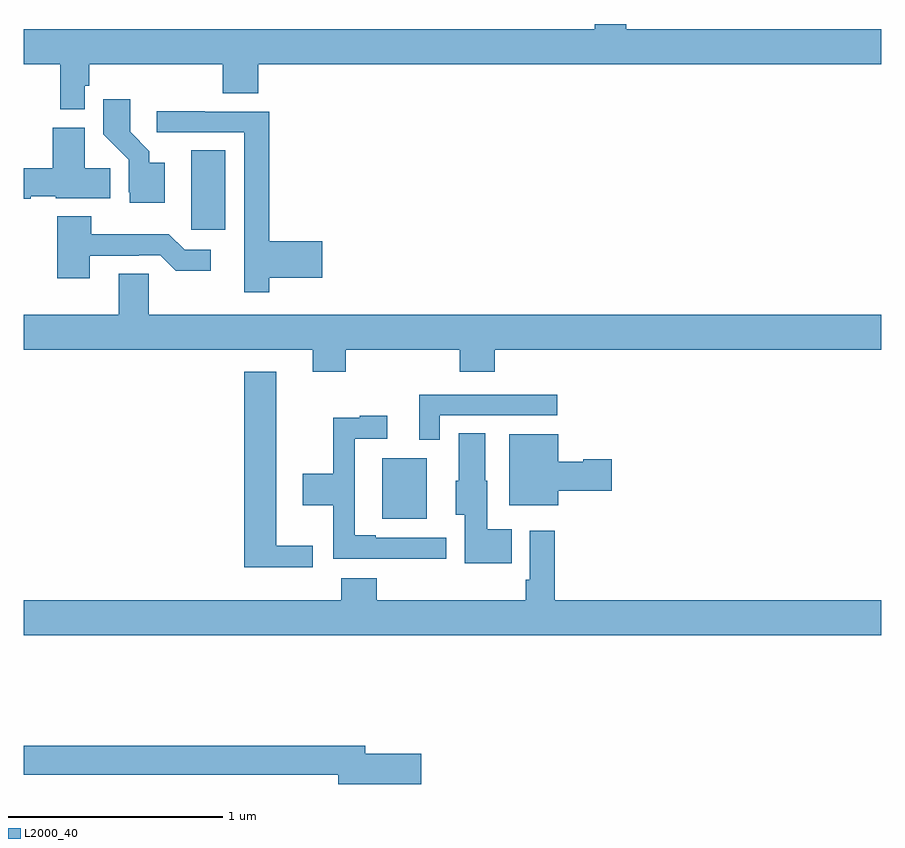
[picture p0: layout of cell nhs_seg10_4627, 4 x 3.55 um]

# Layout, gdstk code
import gdstk
lib = gdstk.Library(unit=1e-6, precision=1e-09)
def R(c, l, rs):  # rectangles x0, y0, x1, y1
    for r in rs: c.add(gdstk.rectangle(r[:2], r[2:], *l))
def P(c, l, *ps):  # polygons
    for p in ps: c.add(gdstk.Polygon(p, *l))
L2000_40 = (2000, 40)

nhs_seg10_4627 = lib.new_cell('nhs_seg10_4627')
R(nhs_seg10_4627, L2000_40, [(376.673,1302.191,376.879,1302.475), (375.782,1303.539,375.94,1303.91)])
P(nhs_seg10_4627, L2000_40, [(377.663,1304.5),(377.663,1304.476),(375,1304.476),(375,1304.312),(375.169,1304.312),(375.169,1304.102),(375.285,1304.102),(375.285,1304.211),(375.305,1304.211),(375.305,1304.312),(375.929,1304.312),(375.929,1304.176),(376.094,1304.176),(376.094,1304.312),(379,1304.312),(379,1304.476),(377.811,1304.476),(377.811,1304.5)],
  [(375.658,1303.852),(375.586,1303.852),(375.586,1303.907),(375.496,1303.997),(375.496,1304.149),(375.37,1304.149),(375.37,1303.986),(375.489,1303.867),(375.489,1303.716),(375.494,1303.716),(375.494,1303.667),(375.658,1303.667)],
  [(376.145,1303.316),(376.393,1303.316),(376.393,1303.487),(376.145,1303.487),(376.145,1304.091),(375.845,1304.091),(375.845,1304.094),(375.621,1304.094),(375.621,1303.995),(376.029,1303.995),(376.029,1303.47),(376.028,1303.47),(376.028,1303.248),(376.145,1303.248)],
  [(375.033,1303.697),(375.15,1303.697),(375.15,1303.688),(375.404,1303.688),(375.404,1303.826),(375.283,1303.826),(375.283,1304.017),(375.134,1304.017),(375.134,1303.827),(375,1303.827),(375,1303.685),(375.033,1303.685)],
  [(375.307,1303.419),(375.536,1303.419),(375.536,1303.422),(375.636,1303.422),(375.709,1303.349),(375.871,1303.349),(375.871,1303.446),(375.75,1303.446),(375.677,1303.519),(375.315,1303.519),(375.315,1303.603),(375.155,1303.603),(375.155,1303.314),(375.307,1303.314)],
  [(376.502,1302.98),(377.033,1302.98),(377.033,1302.878),(377.198,1302.878),(377.198,1302.98),(379,1302.98),(379,1303.144),(375.582,1303.144),(375.582,1303.334),(375.443,1303.334),(375.443,1303.144),(375,1303.144),(375,1302.98),(376.349,1302.98),(376.349,1302.878),(376.502,1302.878)],
  [(376.348,1302.065),(376.177,1302.065),(376.177,1302.877),(376.028,1302.877),(376.028,1301.966),(376.348,1301.966)],
  [(376.941,1302.675),(377.488,1302.675),(377.488,1302.771),(376.844,1302.771),(376.844,1302.56),(376.941,1302.56)],
  [(376.972,1302.102),(376.642,1302.102),(376.642,1302.115),(376.545,1302.115),(376.545,1302.564),(376.696,1302.564),(376.696,1302.673),(376.568,1302.673),(376.568,1302.662),(376.444,1302.662),(376.444,1302.402),(376.302,1302.402),(376.302,1302.254),(376.444,1302.254),(376.444,1302.006),(376.729,1302.006),(376.729,1302.005),(376.972,1302.005)],
  [(377.276,1302.142),(377.161,1302.142),(377.161,1302.369),(377.152,1302.369),(377.152,1302.59),(377.03,1302.59),(377.03,1302.369),(377.015,1302.369),(377.015,1302.21),(377.057,1302.21),(377.057,1301.984),(377.276,1301.984)],
  [(377.494,1302.323),(377.743,1302.323),(377.743,1302.47),(377.61,1302.47),(377.61,1302.457),(377.494,1302.457),(377.494,1302.586),(377.264,1302.586),(377.264,1302.254),(377.494,1302.254)],
  [(379,1301.812),(377.477,1301.812),(377.477,1302.136),(377.361,1302.136),(377.361,1301.908),(377.341,1301.908),(377.341,1301.812),(376.646,1301.812),(376.646,1301.914),(376.481,1301.914),(376.481,1301.812),(375,1301.812),(375,1301.648),(379,1301.648)],
  [(376.855,1301.096),(376.594,1301.096),(376.594,1301.132),(375,1301.132),(375,1300.996),(376.466,1300.996),(376.466,1300.954),(376.855,1300.954)])

lib.write_gds('nhs_seg10_4627.gds')
